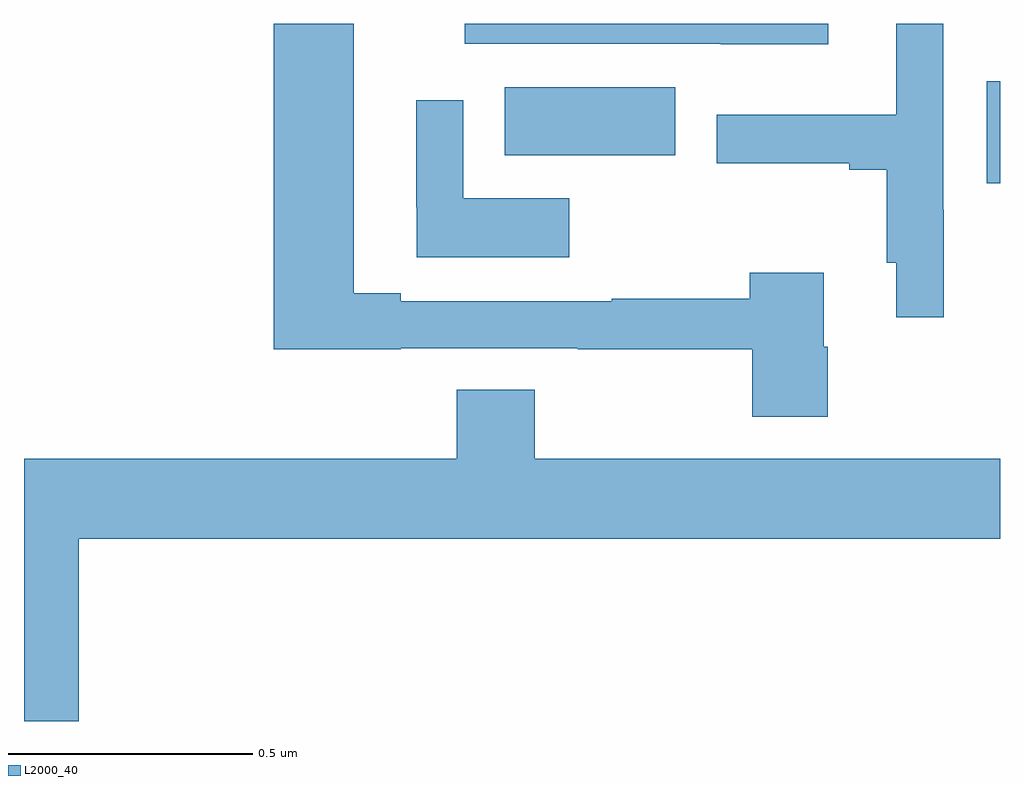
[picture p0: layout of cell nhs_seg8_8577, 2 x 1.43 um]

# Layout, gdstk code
import gdstk
lib = gdstk.Library(unit=1e-6, precision=1e-09)
def R(c, l, rs):  # rectangles x0, y0, x1, y1
    for r in rs: c.add(gdstk.rectangle(r[:2], r[2:], *l))
def P(c, l, *ps):  # polygons
    for p in ps: c.add(gdstk.Polygon(p, *l))
L2000_40 = (2000, 40)

nhs_seg8_8577 = lib.new_cell('nhs_seg8_8577')
R(nhs_seg8_8577, L2000_40, [(226.973,1106.573,227,1106.782), (225.985,1106.63,226.335,1106.77)])
P(nhs_seg8_8577, L2000_40, [(226.885,1106.519),(226.884,1106.519),(226.884,1106.9),(226.787,1106.9),(226.787,1106.713),(226.42,1106.713),(226.42,1106.614),(226.691,1106.614),(226.691,1106.6),(226.768,1106.6),(226.768,1106.41),(226.787,1106.41),(226.787,1106.298),(226.885,1106.298)],
  [(226.648,1106.9),(225.903,1106.9),(225.903,1106.859),(226.428,1106.859),(226.428,1106.858),(226.648,1106.858)],
  [(226.647,1106.238),(226.639,1106.238),(226.639,1106.389),(226.487,1106.389),(226.487,1106.336),(226.204,1106.336),(226.204,1106.331),(225.772,1106.331),(225.772,1106.347),(225.676,1106.347),(225.676,1106.9),(225.512,1106.9),(225.512,1106.233),(225.772,1106.233),(225.772,1106.235),(226.135,1106.235),(226.135,1106.233),(226.492,1106.233),(226.492,1106.094),(226.647,1106.094)],
  [(226.117,1106.542),(225.9,1106.542),(225.9,1106.743),(225.804,1106.743),(225.804,1106.524),(225.805,1106.524),(225.805,1106.421),(226.117,1106.421)],
  [(225.112,1105.844),(227,1105.844),(227,1106.008),(226.047,1106.008),(226.047,1106.15),(225.887,1106.15),(225.887,1106.008),(225,1106.008),(225,1105.47),(225.112,1105.47)])

lib.write_gds('nhs_seg8_8577.gds')
